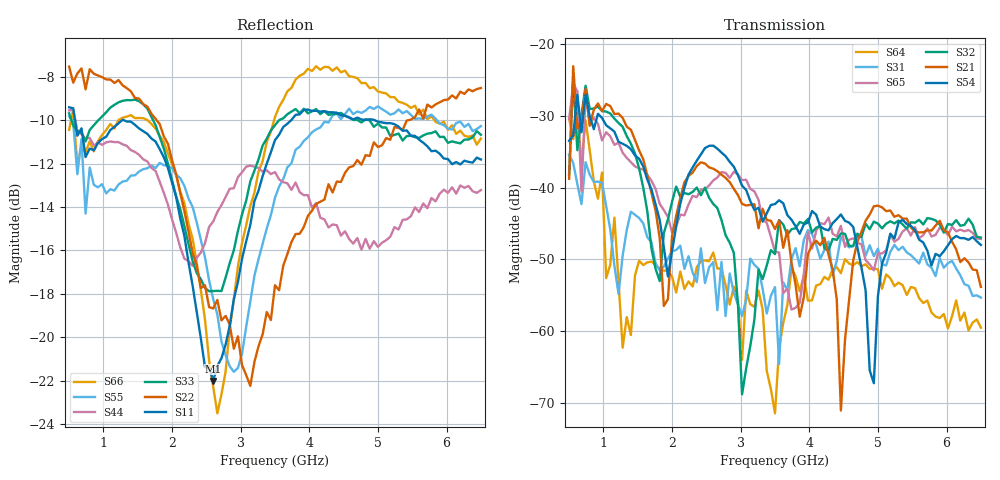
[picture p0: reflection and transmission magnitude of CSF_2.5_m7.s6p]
!Keysight Technologies,M9804A,MY58100912,A.14.10.03
!Date: Thursday, April 27, 2023 10:28:33
!Correction: S11(C  6-Port  )
!S12(C  6-Port  )
!S13(C  6-Port  )
!S14(C  6-Port  )
!S15(C  6-Port  )
!S16(C  6-Port  )
!S21(C  6-Port  )
!S22(C  6-Port  )
!S23(C  6-Port  )
!S24(C  6-Port  )
!S25(C  6-Port  )
!S26(C  6-Port  )
!S31(C  6-Port  )
!S32(C  6-Port  )
!S33(C  6-Port  )
!S34(C  6-Port  )
!S35(C  6-Port  )
!S36(C  6-Port  )
!S41(C  6-Port  )
!S42(C  6-Port  )
!S43(C  6-Port  )
!S44(C  6-Port  )
!S45(C  6-Port  )
!S46(C  6-Port  )
!S51(C  6-Port  )
!S52(C  6-Port  )
!S53(C  6-Port  )
!S54(C  6-Port  )
!S55(C  6-Port  )
!S56(C  6-Port  )
!S61(C  6-Port  )
!S62(C  6-Port  )
!S63(C  6-Port  )
!S64(C  6-Port  )
!S65(C  6-Port  )
!S66(C  6-Port  )
!S6P File: Measurement: :
# Hz S  RI  R 50
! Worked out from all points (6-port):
!   101 points, 500 MHz to 6.5 GHz, reference 50 ohm
!   strongest paths, dB at 500 MHz, 2 GHz, 3.5 GHz, 5 GHz, 6.5 GHz:
!     S54: -33.5, -48.8, -42.3, -55.1, -48.0
!     S21: -38.8, -46.7, -45.8, -42.5, -53.8
!     S32: -38.3, -42.0, -49.3, -45.0, -47.0
!     S65: -30.5, -46.2, -48.9, -49.1, -47.1
!     S31: -35.4, -48.9, -53.9, -48.5, -55.3
!     S64: -30.4, -52.4, -71.5, -51.4, -59.5
!   lowest |S11| = -22.0 dB at 2.6 GHz (marker M1), VSWR 1.17, Z = 42.9 + j2.02 ohm
!   |S11| at or under -10 dB: 585.9 MHz to 1.273 GHz (687.2 MHz wide, 73.9 % of centre); 1.294 GHz to 3.737 GHz (2.443 GHz wide, 97.1 % of centre); 4.949 GHz to end of sweep
